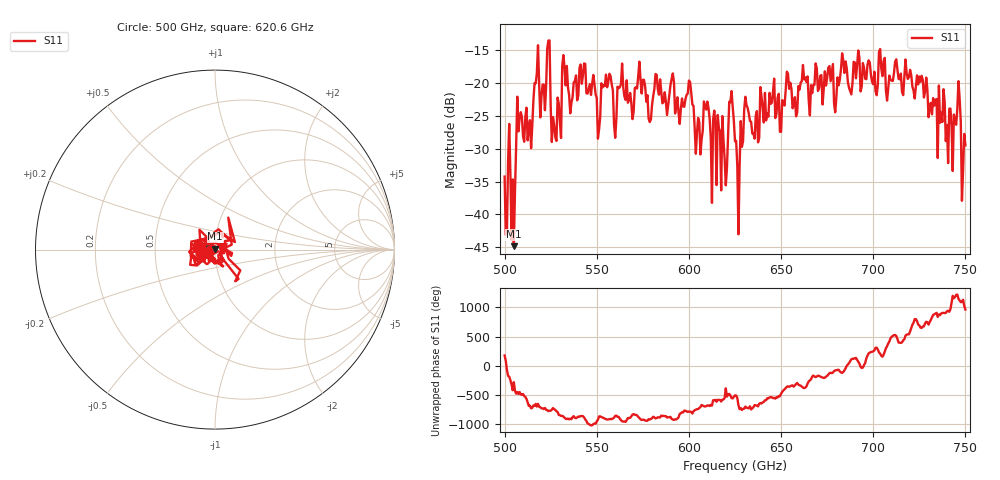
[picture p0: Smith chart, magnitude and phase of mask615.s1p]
!Created with skrf (http://scikit-rf.org).
# GHz S MA R 50.0
!freq magS11 angS11
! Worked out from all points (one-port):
!   401 points, 500 GHz to 750 GHz, reference 50 ohm
!   lowest |S11| = -44.8 dB at 505 GHz (marker M1), VSWR 1.01, Z = 50.1 + j0.565 ohm
!   |S11| at or under -10 dB: start of sweep to end of sweep
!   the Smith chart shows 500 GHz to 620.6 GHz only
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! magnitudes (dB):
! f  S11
! 500 GHz  -34.3
! 505 GHz  -44.8
! 507.5 GHz  -27.4
! 513.8 GHz  -25.7
! 517.5 GHz  -18.5
! 520.6 GHz  -20.3
! 523.8 GHz  -13.6
! 526.9 GHz  -26.4
! 531.2 GHz  -17.5
! 542.5 GHz  -18.9
! 550.6 GHz  -28.5
! 562.5 GHz  -20.7
! 590.6 GHz  -19.4
! 593.8 GHz  -22.2
! 600 GHz  -19.7
! 605 GHz  -25.3
! 609.4 GHz  -24.1
! 618.8 GHz  -28.7
! 623.1 GHz  -21.3
! 625 GHz  -28.9
! 626.2 GHz  -32.6
! 631.2 GHz  -23.4
! 656.2 GHz  -23.9
! 687.5 GHz  -21.3
! 718.8 GHz  -19.4
! 741.9 GHz  -23.9
! 746.2 GHz  -19.8
! 750 GHz  -29.5
